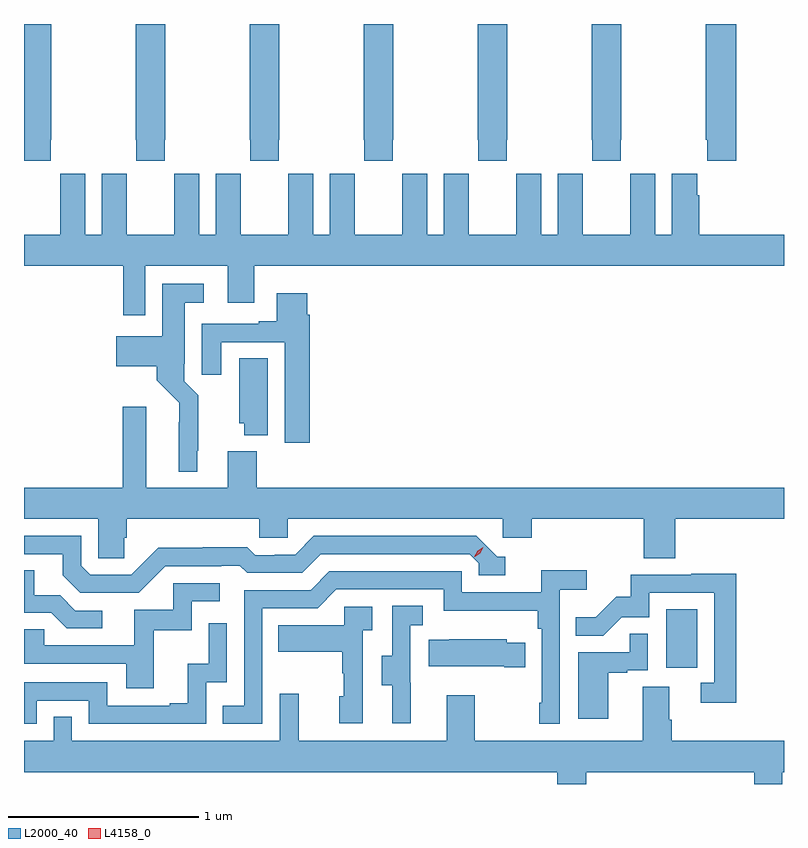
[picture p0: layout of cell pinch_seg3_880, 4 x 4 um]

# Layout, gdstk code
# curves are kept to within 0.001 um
import gdstk
lib = gdstk.Library(unit=1e-6, precision=1e-09)
def R(c, l, rs):  # rectangles x0, y0, x1, y1
    for r in rs: c.add(gdstk.rectangle(r[:2], r[2:], *l))
def P(c, l, *ps):  # polygons
    for p in ps: c.add(gdstk.Polygon(p, *l))
L2000_40 = (2000, 40)
L4158_0 = (4158, 0)

pinch_seg3_880 = lib.new_cell('pinch_seg3_880')
R(pinch_seg3_880, L2000_40, [(869.102,705.462,869.266,705.769)])
P(pinch_seg3_880, L2000_40, [(865.863,708.241),(865.866,708.241),(865.866,708.849),(865.722,708.849),(865.722,708.129),(865.863,708.129)],
  [(866.463,708.241),(866.466,708.241),(866.466,708.849),(866.311,708.849),(866.311,708.241),(866.313,708.241),(866.313,708.129),(866.463,708.129)],
  [(867.063,708.241),(867.066,708.241),(867.066,708.849),(866.911,708.849),(866.911,708.241),(866.913,708.241),(866.913,708.129),(867.063,708.129)],
  [(867.663,708.241),(867.666,708.241),(867.666,708.849),(867.511,708.849),(867.511,708.241),(867.513,708.241),(867.513,708.129),(867.663,708.129)],
  [(868.263,708.241),(868.266,708.241),(868.266,708.849),(868.111,708.849),(868.111,708.241),(868.113,708.241),(868.113,708.129),(868.263,708.129)],
  [(868.863,708.241),(868.866,708.241),(868.866,708.849),(868.711,708.849),(868.711,708.241),(868.713,708.241),(868.713,708.129),(868.863,708.129)],
  [(869.471,708.849),(869.311,708.849),(869.311,708.241),(869.317,708.241),(869.317,708.129),(869.471,708.129)],
  [(867.932,708.061),(867.932,707.74),(867.844,707.74),(867.844,708.061),(867.714,708.061),(867.714,707.948),(867.713,707.948),(867.713,707.74),(867.463,707.74),(867.463,707.948),(867.462,707.948),(867.462,708.061),(867.332,708.061),(867.332,707.74),(867.244,707.74),(867.244,708.061),(867.114,708.061),(867.114,707.948),(867.113,707.948),(867.113,707.74),(866.863,707.74),(866.863,707.948),(866.862,707.948),(866.862,708.061),(866.732,708.061),(866.732,707.74),(866.644,707.74),(866.644,708.061),(866.514,708.061),(866.514,707.948),(866.513,707.948),(866.513,707.74),(866.263,707.74),(866.263,707.948),(866.262,707.948),(866.262,708.061),(866.132,708.061),(866.132,707.74),(866.044,707.74),(866.044,708.061),(865.914,708.061),(865.914,707.948),(865.913,707.948),(865.913,707.74),(865.722,707.74),(865.722,707.576),(866.245,707.576),(866.245,707.316),(866.361,707.316),(866.361,707.576),(866.795,707.576),(866.795,707.382),(866.935,707.382),(866.935,707.576),(869.722,707.576),(869.722,707.74),(869.276,707.74),(869.276,707.948),(869.266,707.948),(869.266,708.061),(869.132,708.061),(869.132,707.74),(869.044,707.74),(869.044,708.061),(868.914,708.061),(868.914,707.948),(868.913,707.948),(868.913,707.74),(868.663,707.74),(868.663,707.948),(868.662,707.948),(868.662,708.061),(868.532,708.061),(868.532,707.74),(868.444,707.74),(868.444,708.061),(868.314,708.061),(868.314,707.948),(868.313,707.948),(868.313,707.74),(868.063,707.74),(868.063,707.948),(868.062,707.948),(868.062,708.061)],
  [(866.635,706.603),(866.639,706.603),(866.639,706.894),(866.565,706.968),(866.565,707.062),(866.569,707.062),(866.569,707.381),(866.668,707.381),(866.668,707.482),(866.45,707.482),(866.45,707.206),(866.208,707.206),(866.208,707.048),(866.42,707.048),(866.42,706.974),(866.538,706.856),(866.537,706.493),(866.635,706.493)],
  [(867.227,707.318),(867.214,707.318),(867.214,707.431),(867.053,707.431),(867.053,707.284),(866.957,707.284),(866.957,707.271),(866.657,707.271),(866.657,707.004),(866.761,707.004),(866.761,707.175),(867.095,707.175),(867.095,706.644),(867.227,706.644)],
  [(867.004,707.09),(866.855,707.09),(866.855,706.749),(866.882,706.749),(866.882,706.685),(867.004,706.685)],
  [(866.249,706.146),(866.264,706.146),(866.264,706.244),(866.961,706.244),(866.961,706.146),(867.111,706.146),(867.111,706.244),(868.242,706.244),(868.242,706.146),(868.394,706.146),(868.394,706.244),(868.985,706.244),(868.985,706.036),(869.15,706.036),(869.15,706.244),(869.722,706.244),(869.722,706.408),(866.948,706.408),(866.948,706.6),(866.795,706.6),(866.795,706.408),(866.365,706.408),(866.365,706.834),(866.243,706.834),(866.243,706.408),(865.722,706.408),(865.722,706.244),(866.112,706.244),(866.112,706.036),(866.249,706.036)],
  [(866.466,705.996),(866.759,705.996),(866.759,705.999),(866.858,705.999),(866.897,705.96),(867.186,705.96),(867.285,706.059),(868.068,706.059),(868.116,706.011),(868.116,705.948),(868.255,705.948),(868.255,706.044),(868.212,706.044),(868.101,706.155),(867.248,706.155),(867.149,706.056),(867.042,706.056),(867.042,706.053),(866.939,706.053),(866.897,706.096),(866.664,706.096),(866.664,706.093),(866.428,706.093),(866.286,705.951),(866.07,705.951),(866.022,705.999),(866.022,706.155),(865.722,706.155),(865.722,706.059),(865.925,706.059),(865.925,705.949),(866.019,705.855),(866.325,705.855)],
  [(866.134,705.762),(865.992,705.762),(865.912,705.842),(865.777,705.842),(865.777,705.974),(865.722,705.974),(865.722,705.75),(865.865,705.75),(865.946,705.669),(866.134,705.669)],
  [(866.976,705.774),(867.267,705.774),(867.366,705.873),(867.93,705.873),(867.93,705.761),(868.426,705.761),(868.426,705.665),(868.446,705.665),(868.446,705.277),(868.434,705.277),(868.434,705.165),(868.542,705.165),(868.542,705.872),(868.684,705.872),(868.684,705.974),(868.445,705.974),(868.445,705.858),(868.026,705.858),(868.026,705.969),(867.329,705.969),(867.23,705.87),(866.88,705.87),(866.88,705.261),(866.767,705.261),(866.767,705.165),(866.976,705.165)],
  [(869.471,705.956),(869.233,705.956),(869.233,705.951),(868.915,705.951),(868.915,705.834),(868.838,705.834),(868.731,705.727),(868.627,705.727),(868.627,705.628),(868.771,705.628),(868.869,705.726),(869.013,705.726),(869.013,705.855),(869.355,705.855),(869.355,705.381),(869.283,705.381),(869.283,705.276),(869.471,705.276)],
  [(866.405,705.657),(866.604,705.657),(866.604,705.81),(866.752,705.81),(866.752,705.906),(866.508,705.906),(866.508,705.765),(866.303,705.765),(866.303,705.579),(865.829,705.579),(865.829,705.663),(865.722,705.663),(865.722,705.483),(866.261,705.483),(866.261,705.354),(866.405,705.354)],
  [(867.758,705.381),(867.756,705.381),(867.756,705.685),(867.82,705.685),(867.82,705.788),(867.66,705.788),(867.66,705.525),(867.605,705.525),(867.605,705.37),(867.659,705.37),(867.659,705.168),(867.758,705.168)],
  [(867.504,705.659),(867.556,705.659),(867.556,705.783),(867.408,705.783),(867.408,705.685),(867.061,705.685),(867.061,705.545),(867.396,705.545),(867.396,705.431),(867.406,705.431),(867.406,705.312),(867.38,705.312),(867.38,705.168),(867.504,705.168)],
  [(865.788,705.288),(866.064,705.288),(866.064,705.165),(866.682,705.165),(866.682,705.384),(866.79,705.384),(866.79,705.694),(866.694,705.694),(866.694,705.482),(866.585,705.482),(866.585,705.274),(866.489,705.274),(866.489,705.261),(866.16,705.261),(866.16,705.384),(865.722,705.384),(865.722,705.165),(865.788,705.165)],
  [(868.798,705.435),(868.898,705.435),(868.898,705.447),(869.004,705.447),(869.004,705.641),(868.909,705.641),(868.909,705.543),(868.64,705.543),(868.64,705.192),(868.798,705.192)],
  [(868.361,705.592),(868.263,705.592),(868.263,705.61),(867.961,705.61),(867.961,705.607),(867.853,705.607),(867.853,705.47),(868.25,705.47),(868.25,705.463),(868.361,705.463)],
  [(868.681,704.912),(869.566,704.912),(869.566,704.849),(869.713,704.849),(869.713,704.912),(869.722,704.912),(869.722,705.076),(869.132,705.076),(869.132,705.188),(869.119,705.188),(869.119,705.362),(868.979,705.362),(868.979,705.076),(868.095,705.076),(868.095,705.316),(867.947,705.316),(867.947,705.076),(867.167,705.076),(867.167,705.325),(867.069,705.325),(867.069,705.076),(865.974,705.076),(865.974,705.203),(865.878,705.203),(865.878,705.076),(865.722,705.076),(865.722,704.912),(868.529,704.912),(868.529,704.849),(868.681,704.849)])
P(pinch_seg3_880, L4158_0, [(868.093,706.044),(868.093,706.044),(868.109,706.077),(868.14,706.096),(868.14,706.096),(868.14,706.096),(868.124,706.063),(868.094,706.044)])

lib.write_gds('pinch_seg3_880.gds')
